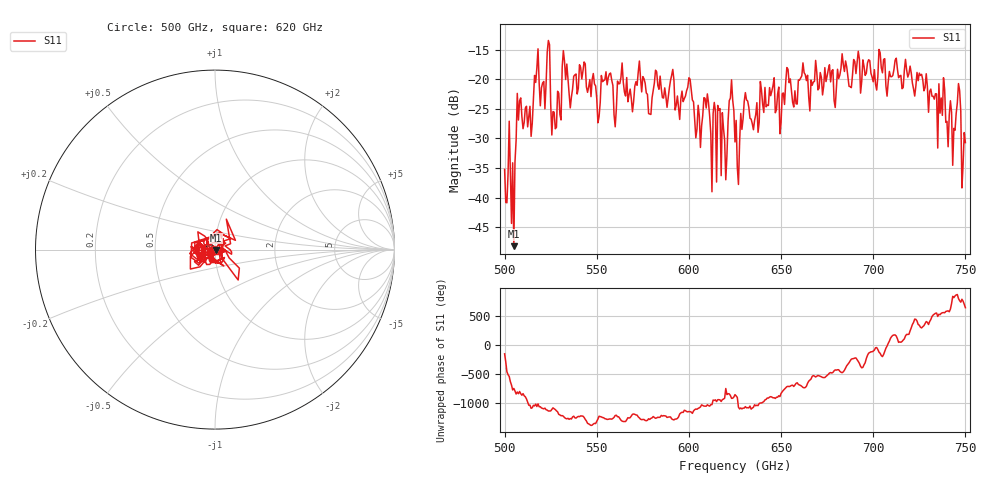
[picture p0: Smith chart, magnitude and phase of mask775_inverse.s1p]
!Created with skrf (http://scikit-rf.org).
# GHz S MA R 50.0
!freq magS11 angS11
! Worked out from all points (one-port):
!   401 points, 500 GHz to 750 GHz, reference 50 ohm
!   lowest |S11| = -48.2 dB at 505 GHz (marker M1), VSWR 1.01, Z = 50.4 - j0.168 ohm
!   |S11| at or under -10 dB: start of sweep to end of sweep
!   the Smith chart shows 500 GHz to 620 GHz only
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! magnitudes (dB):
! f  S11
! 500 GHz  -35.2
! 505 GHz  -48.2
! 508.1 GHz  -23.6
! 513.8 GHz  -24.6
! 516.9 GHz  -20.5
! 523.8 GHz  -13.4
! 526.9 GHz  -25.6
! 531.2 GHz  -17.9
! 542.5 GHz  -18.6
! 550.6 GHz  -27.4
! 562.5 GHz  -20.7
! 578.8 GHz  -25.9
! 590.6 GHz  -19.3
! 593.8 GHz  -22.8
! 600 GHz  -19.7
! 605 GHz  -24.4
! 609.4 GHz  -24.9
! 618.8 GHz  -28.3
! 623.1 GHz  -20.1
! 625 GHz  -30.6
! 626.2 GHz  -34.9
! 631.2 GHz  -23.5
! 656.2 GHz  -23.9
! 687.5 GHz  -21.2
! 718.8 GHz  -19.6
! 741.9 GHz  -23.6
! 746.2 GHz  -20.7
! 750 GHz  -30.7
